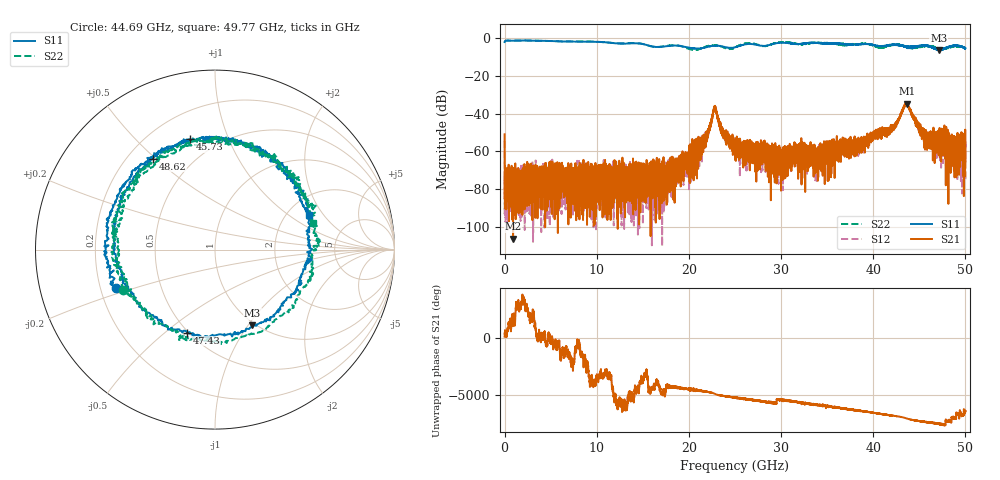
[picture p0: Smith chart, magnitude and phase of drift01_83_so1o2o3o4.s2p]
!Created with skrf (http://scikit-rf.org).
# Hz S RI R 50.0
!freq ReS11 ImS11 ReS21 ImS21 ReS12 ImS12 ReS22 ImS22
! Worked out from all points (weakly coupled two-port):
!   10001 points, 300 kHz to 50 GHz, reference 50 ohm
!   highest |S21| = -34.80 dB at 43.65 GHz (marker M1); lowest = -106.0 dB at 920.3 MHz (marker M2)
!   lowest |S11| = -6.5 dB at 47.12 GHz (marker M3), VSWR 2.78, Z = 48.3 - j52.5 ohm
!   |S11| at or under -10 dB: nowhere
!   |S22| runs from -6.4 to -1.4 dB; largest |S21 - S12| = 0.004
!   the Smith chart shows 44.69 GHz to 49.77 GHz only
!   S11 on the Smith chart (normalised r, x): 44.69 GHz: 0.26, -0.18; 45.73 GHz: 0.36, +0.74; 47.43 GHz: 0.49, -0.60; 48.62 GHz: 0.30, +0.49; 49.77 GHz: 2.61, +1.49
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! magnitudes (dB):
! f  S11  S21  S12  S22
! 300 kHz  -2.2  -50.9  -54.3  -2.1
! 255.3 MHz  -1.4  -75.6  -73.8  -1.4
! 920.3 MHz  -1.5  -106.0  -96.3  -1.5
! 8.335 GHz  -1.9  -66.9  -70.7  -1.8
! 16.67 GHz  -4.8  -71.6  -72.2  -4.8
! 20.76 GHz  -5.6  -56.6  -56.6  -6.2
! 21.9 GHz  -4.9  -51.1  -51.0  -4.4
! 22.8 GHz  -4.3  -36.6  -36.1  -4.0
! 23.71 GHz  -4.6  -51.3  -49.5  -4.9
! 25 GHz  -5.0  -53.8  -58.5  -5.0
! 30.07 GHz  -2.5  -63.6  -63.3  -2.4
! 31.51 GHz  -3.2  -58.9  -61.5  -3.0
! 33.34 GHz  -2.6  -61.0  -60.4  -2.7
! 41.67 GHz  -3.9  -49.1  -49.9  -4.1
! 43.65 GHz  -5.0  -34.8  -35.3  -4.9
! 44.69 GHz  -4.5  -45.6  -45.2  -5.0
! 45.73 GHz  -4.0  -52.2  -54.1  -4.3
! 47.12 GHz  -6.5  -54.4  -53.6  -5.7
! 47.43 GHz  -6.2  -53.0  -53.6  -5.8
! 48.62 GHz  -4.2  -52.5  -65.7  -4.7
! 49.77 GHz  -5.0  -61.0  -63.4  -4.9
! 50 GHz  -5.4  -65.1  -54.8  -5.2
